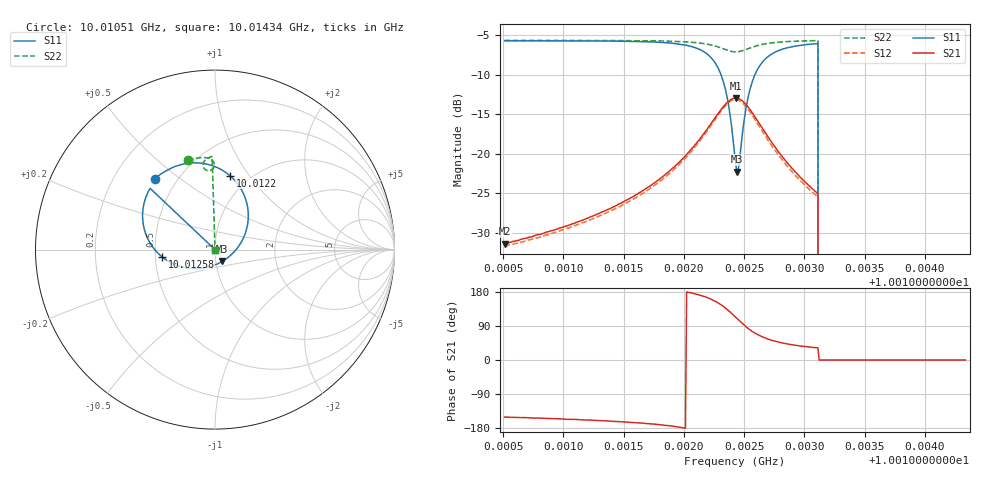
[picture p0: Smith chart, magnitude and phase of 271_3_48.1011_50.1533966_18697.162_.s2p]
#  HZ  S  RI  R  50.00
! Rohde & Schwarz Vector Network Analyzer
! Rohde-Schwarz,ZNB20-2Port,1311601062101988,3.16
! Created: UTC 12/23/2023, 4:01:46 AM
! freq[Hz]  re:S11  im:S11  re:S21  im:S21  re:S12  im:S12  re:S22  im:S22
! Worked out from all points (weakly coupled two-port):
!   401 points, 10.01051 GHz to 10.01434 GHz, reference 50 ohm
!   highest |S21| = -12.95 dB at 10.01243 GHz (marker M1); lowest = -31.3 dB at 10.01051 GHz (marker M2)
!   lowest |S11| = -22.2 dB at 10.01244 GHz (marker M3), VSWR 1.17, Z = 53.7 - j7.13 ohm
!   |S11| at or under -10 dB: 10.01231 GHz to 10.01259 GHz (282.4 kHz wide, 0.00282 % of centre); 10.01311 GHz to end of sweep
!   |S22| runs from - to -5.7 dB; largest |S21 - S12| = 0.011
!   S11 on the Smith chart (normalised r, x): 10.01051 GHz: 0.38, +0.41; 10.0122 GHz: 0.82, +0.82; 10.01258 GHz: 0.54, -0.05; 10.01434 GHz: 1.00, +0.00
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1.0010513e10  -0.3359 0.394  -0.0237 -0.0132  -0.022 -0.0142  -0.1502 0.4973
1.0011153e10  -0.2791 0.4353  -0.0352 -0.0143  -0.0331 -0.0155  -0.107 0.5082
1.0011793e10  -0.1629 0.4792  -0.0678 -0.0114  -0.0649 -0.0144  -0.056 0.5128
1.0012061e10  -0.039 0.4747  -0.1065 0.00525  -0.1033 -0.000525  -0.0273 0.5059
1.0012205e10  0.0831 0.4118  -0.1412 0.0419  -0.1396 0.033  -0.00962 0.4907
1.0012281e10  0.1569 0.3152  -0.1562 0.0855  -0.1574 0.0756  -0.00365 0.4743
1.0012338e10  0.1856 0.1906  -0.153 0.1333  -0.1564 0.1235  -0.00638 0.4576
1.0012377e10  0.1685 0.0893  -0.1353 0.169  -0.1404 0.1599  -0.014 0.4471
1.0012424e10  0.0883 -0.0307  -0.0927 0.2048  -0.0984 0.1974  -0.0301 0.4394
1.0012434e10  0.0658 -0.0492  -0.0826 0.2094  -0.0877 0.2023  -0.034 0.4391
1.0012444e10  0.0403 -0.066  -0.0716 0.2128  -0.0767 0.2059  -0.0378 0.4392
1.0012463e10  -0.0135 -0.0907  -0.0499 0.2162  -0.0544 0.2097  -0.0451 0.4408
1.001252e10  -0.1776 -0.0984  0.012 0.203  0.00626 0.1972  -0.061 0.4528
1.0012577e10  -0.2964 -0.0392  0.0506 0.1699  0.0434 0.1647  -0.0668 0.4691
1.0012644e10  -0.3695 0.0505  0.069 0.1308  0.0621 0.127  -0.0645 0.4851
1.001274e10  -0.402 0.1574  0.0724 0.0897  0.0657 0.0877  -0.0548 0.4998
1.0012883e10  -0.3953 0.2581  0.063 0.0547  0.0576 0.0546  -0.0387 0.5109
1.0013065e10  -0.3686 0.3285  0.0505 0.0331  0.0462 0.0339  -0.0206 0.5173
1.0013094e10  -0.3643 0.3362  0.0487 0.031  0.045 0.0317  -0.0181 0.5178
1.0013141e10  0 0  0 0  0 0  0 0
1.0013705e10  0 0  0 0  0 0  0 0
1.0014336e10  0 0  0 0  0 0  0 0
